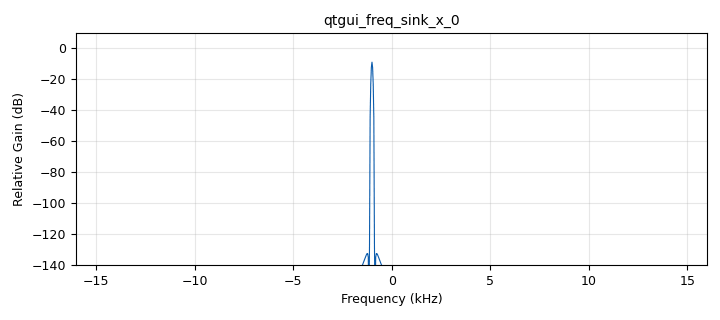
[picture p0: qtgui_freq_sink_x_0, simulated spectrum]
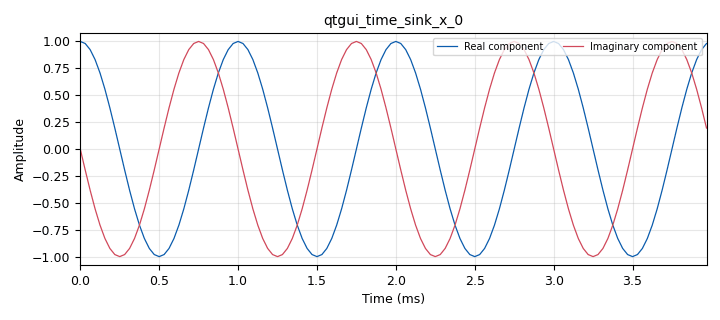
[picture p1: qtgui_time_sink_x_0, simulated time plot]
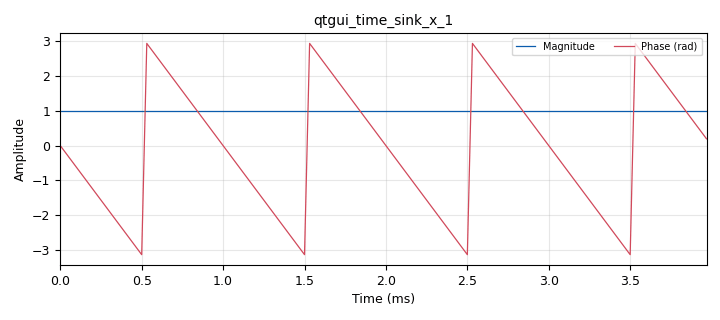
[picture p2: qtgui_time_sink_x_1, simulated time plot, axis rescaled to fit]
options:
  parameters:
    author: Dhrubjun
    generate_options: qt_gui
    id: complexcomponents
    output_language: python
    title: complex components
  states: {}

blocks:
- name: samp_rate
  id: variable
  parameters:
    value: '32000'
  states: {}
- name: analog_sig_source_x_0
  id: analog_sig_source_x
  parameters:
    amp: '1'
    freq: '1000'
    offset: '0'
    phase: '0'
    samp_rate: samp_rate
    type: float
    waveform: analog.GR_COS_WAVE
  states: {}
- name: analog_sig_source_x_0_0
  id: analog_sig_source_x
  parameters:
    amp: '-1'
    freq: '1000'
    offset: '0'
    phase: '0'
    samp_rate: samp_rate
    type: float
    waveform: analog.GR_SIN_WAVE
  states: {}
- name: blocks_complex_to_arg_0
  id: blocks_complex_to_arg
  parameters: {}
  states: {}
- name: blocks_complex_to_imag_0
  id: blocks_complex_to_imag
  parameters: {}
  states: {}
- name: blocks_complex_to_mag_0
  id: blocks_complex_to_mag
  parameters: {}
  states: {}
- name: blocks_complex_to_real_0
  id: blocks_complex_to_real
  parameters: {}
  states: {}
- name: blocks_float_to_complex_0
  id: blocks_float_to_complex
  parameters: {}
  states: {}
- name: qtgui_freq_sink_x_0
  id: qtgui_freq_sink_x
  parameters:
    bw: samp_rate
    fc: '0'
    fftsize: '1024'
    showports: 'True'
    type: complex
  states: {}
- name: qtgui_time_sink_x_0
  id: qtgui_time_sink_x
  parameters:
    label1: Real component
    label2: Imaginary component
    nconnections: '2'
    size: '128'
    srate: samp_rate
    type: float
  states: {}
- name: qtgui_time_sink_x_1
  id: qtgui_time_sink_x
  parameters:
    label1: Magnitude
    label2: Phase (rad)
    nconnections: '2'
    size: '128'
    srate: samp_rate
    type: float
  states: {}

connections:
- [analog_sig_source_x_0, '0', blocks_float_to_complex_0, '0']
- [analog_sig_source_x_0_0, '0', blocks_float_to_complex_0, '1']
- [blocks_complex_to_arg_0, '0', qtgui_time_sink_x_1, '1']
- [blocks_complex_to_imag_0, '0', qtgui_time_sink_x_0, '1']
- [blocks_complex_to_mag_0, '0', qtgui_time_sink_x_1, '0']
- [blocks_complex_to_real_0, '0', qtgui_time_sink_x_0, '0']
- [blocks_float_to_complex_0, '0', blocks_complex_to_arg_0, '0']
- [blocks_float_to_complex_0, '0', blocks_complex_to_imag_0, '0']
- [blocks_float_to_complex_0, '0', blocks_complex_to_mag_0, '0']
- [blocks_float_to_complex_0, '0', blocks_complex_to_real_0, '0']
- [blocks_float_to_complex_0, '0', qtgui_freq_sink_x_0, '0']

metadata:
  file_format: 1
  grc_version: 3.10.12.0
